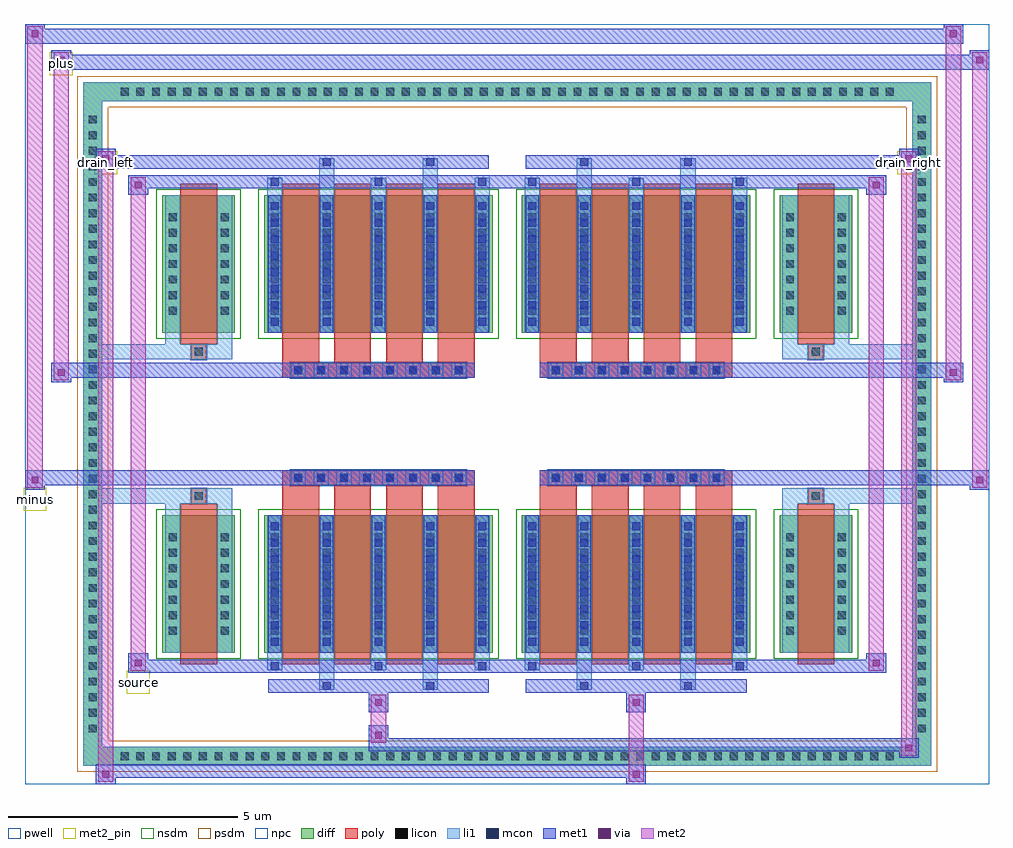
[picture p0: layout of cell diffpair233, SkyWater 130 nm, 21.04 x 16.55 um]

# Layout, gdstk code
import gdstk
lib = gdstk.Library(unit=1e-6, precision=5e-09)
def R(c, l, rs):  # rectangles x0, y0, x1, y1
    for r in rs: c.add(gdstk.rectangle(r[:2], r[2:], *l))
def A(c, l, x, y, w, h, nx, ny, dx, dy):  # array of equal rectangles
    R(c, l, [(x+i*dx, y+j*dy, x+i*dx+w, y+j*dy+h) for i in range(nx) for j in range(ny)])
def P(c, l, *ps):  # polygons
    for p in ps: c.add(gdstk.Polygon(p, *l))
pwell = (64, 44)
diff = (65, 20)
poly = (66, 20)
licon = (66, 44)
li1 = (67, 20)
mcon = (67, 44)
met1 = (68, 20)
via = (68, 44)
met2_pin = (69, 16)
met2 = (69, 20)
nsdm = (93, 44)
psdm = (94, 20)
npc = (95, 20)

diffpair233 = lib.new_cell('diffpair233')
R(diffpair233, pwell, [(-10.5,-7.84,10.5,8.71), (-7.82,-6.03,-0.01,-0.805), (0.01,-6.03,7.82,-0.805), (-7.82,0.805,-0.01,6.03), (0.01,0.805,7.82,6.03)])
A(diffpair233, diff, -8.535, -7.44, 0.41, 0.41, 50, 2, 0.34, 14.47)
A(diffpair233, diff, -9.23, -6.835, 0.41, 0.41, 1, 40, 0, 0.34)
A(diffpair233, diff, 8.82, -6.835, 0.41, 0.41, 1, 40, 0, 0.34)
R(diffpair233, diff, [(-8.535,-7.44,8.535,-7.03), (-9.23,-6.835,-8.82,6.835), (8.82,-6.835,9.23,6.835), (-7.51,-4.985,-5.93,-1.985), (-5.29,-4.985,-0.32,-1.985), (0.32,-4.985,5.29,-1.985), (5.93,-4.985,7.51,-1.985), (-7.51,1.985,-5.93,4.985), (-5.29,1.985,-0.32,4.985), (0.32,1.985,5.29,4.985), (5.93,1.985,7.51,4.985), (-8.535,7.03,8.535,7.44)])
P(diffpair233, diff, [(9.23,7.44),(-9.23,7.44),(-9.23,-7.03),(-8.82,-7.03),(-8.82,7.03),(8.82,7.03),(8.82,-7.03),(-8.82,-7.03),(-9.23,-7.03),(-9.23,-7.44),(9.23,-7.44)])
A(diffpair233, poly, -4.9, -5.235, 0.8, 3.5, 4, 2, 1.13, 6.97)
A(diffpair233, poly, 0.71, -5.235, 0.8, 3.5, 4, 2, 1.13, 6.97)
A(diffpair233, poly, -4.9, -1.735, 0.8, 0.4, 4, 2, 1.13, 3.07)
A(diffpair233, poly, 0.71, -1.735, 0.8, 0.4, 4, 2, 1.13, 3.07)
A(diffpair233, poly, -4.72, -1.335, 0.33, 0.33, 8, 2, 0.5, 2.34)
A(diffpair233, poly, 0.89, -1.335, 0.33, 0.33, 8, 2, 0.5, 2.34)
R(diffpair233, poly, [(-7.12,-5.235,-6.32,-1.735), (6.32,-5.235,7.12,-1.735), (-6.885,-1.735,-6.555,-1.405), (-6.885,-1.735,-6.555,-1.405), (6.555,-1.735,6.885,-1.405), (6.555,-1.735,6.885,-1.405), (-4.9,-1.335,-0.71,-1.005), (0.71,-1.335,4.9,-1.005), (-4.9,1.005,-0.71,1.335), (0.71,1.005,4.9,1.335), (-6.885,1.405,-6.555,1.735), (-6.885,1.405,-6.555,1.735), (6.555,1.405,6.885,1.735), (6.555,1.405,6.885,1.735), (-7.12,1.735,-6.32,5.235), (6.32,1.735,7.12,5.235)])
A(diffpair233, licon, -8.415, -7.32, 0.17, 0.17, 50, 2, 0.34, 14.47)
A(diffpair233, licon, -9.11, -6.715, 0.17, 0.17, 1, 40, 0, 0.34)
A(diffpair233, licon, 8.94, -6.715, 0.17, 0.17, 1, 40, 0, 0.34)
A(diffpair233, licon, -7.37, -4.59, 0.17, 0.17, 1, 7, 0, 0.34)
A(diffpair233, licon, -6.24, -4.59, 0.17, 0.17, 1, 7, 0, 0.34)
A(diffpair233, licon, -5.15, -4.59, 0.17, 0.17, 5, 7, 1.13, 0.34)
A(diffpair233, licon, 0.46, -4.59, 0.17, 0.17, 5, 7, 1.13, 0.34)
A(diffpair233, licon, 6.07, -4.59, 0.17, 0.17, 1, 7, 0, 0.34)
A(diffpair233, licon, 7.2, -4.59, 0.17, 0.17, 1, 7, 0, 0.34)
A(diffpair233, licon, -4.64, -1.255, 0.17, 0.17, 8, 2, 0.5, 2.34)
A(diffpair233, licon, 0.97, -1.255, 0.17, 0.17, 8, 2, 0.5, 2.34)
A(diffpair233, licon, -7.37, 2.38, 0.17, 0.17, 1, 7, 0, 0.34)
A(diffpair233, licon, -6.24, 2.38, 0.17, 0.17, 1, 7, 0, 0.34)
A(diffpair233, licon, -5.15, 2.38, 0.17, 0.17, 5, 7, 1.13, 0.34)
A(diffpair233, licon, 0.46, 2.38, 0.17, 0.17, 5, 7, 1.13, 0.34)
A(diffpair233, licon, 6.07, 2.38, 0.17, 0.17, 1, 7, 0, 0.34)
A(diffpair233, licon, 7.2, 2.38, 0.17, 0.17, 1, 7, 0, 0.34)
R(diffpair233, licon, [(-6.805,-1.655,-6.635,-1.485), (6.635,-1.655,6.805,-1.485), (-6.805,1.485,-6.635,1.655), (6.635,1.485,6.805,1.655)])
A(diffpair233, li1, -8.495, -7.4, 0.33, 0.33, 50, 2, 0.34, 14.47)
A(diffpair233, li1, -9.19, -6.795, 0.33, 0.33, 1, 40, 0, 0.34)
A(diffpair233, li1, 8.86, -6.795, 0.33, 0.33, 1, 40, 0, 0.34)
A(diffpair233, li1, -5.23, -5.36, 0.33, 0.375, 3, 2, 2.26, 10.345)
A(diffpair233, li1, -5.15, -5.36, 0.17, 0.17, 3, 2, 2.26, 10.55)
A(diffpair233, li1, 0.38, -5.36, 0.33, 0.375, 3, 2, 2.26, 10.345)
A(diffpair233, li1, 0.46, -5.36, 0.17, 0.17, 3, 2, 2.26, 10.55)
A(diffpair233, li1, -5.23, -4.985, 0.33, 3, 5, 2, 1.13, 6.97)
A(diffpair233, li1, 0.38, -4.985, 0.33, 3, 5, 2, 1.13, 6.97)
A(diffpair233, li1, -5.15, -4.83, 0.17, 0.17, 5, 8, 1.13, 0.36)
A(diffpair233, li1, -5.15, -4.83, 0.17, 2.69, 5, 2, 1.13, 6.97)
A(diffpair233, li1, 0.46, -4.83, 0.17, 0.17, 5, 8, 1.13, 0.36)
A(diffpair233, li1, 0.46, -4.83, 0.17, 2.69, 5, 2, 1.13, 6.97)
A(diffpair233, li1, -7.45, -4.67, 0.33, 0.33, 1, 7, 0, 0.34)
A(diffpair233, li1, -6.32, -4.67, 0.33, 0.33, 1, 7, 0, 0.34)
A(diffpair233, li1, -5.23, -4.67, 0.33, 0.33, 5, 7, 1.13, 0.34)
A(diffpair233, li1, 0.38, -4.67, 0.33, 0.33, 5, 7, 1.13, 0.34)
A(diffpair233, li1, 5.99, -4.67, 0.33, 0.33, 1, 7, 0, 0.34)
A(diffpair233, li1, 7.12, -4.67, 0.33, 0.33, 1, 7, 0, 0.34)
A(diffpair233, li1, -4.72, -1.335, 0.33, 0.33, 8, 2, 0.5, 2.34)
A(diffpair233, li1, 0.89, -1.335, 0.33, 0.33, 8, 2, 0.5, 2.34)
A(diffpair233, li1, -5.15, 2.14, 0.17, 0.17, 5, 8, 1.13, 0.36)
A(diffpair233, li1, 0.46, 2.14, 0.17, 0.17, 5, 8, 1.13, 0.36)
A(diffpair233, li1, -7.45, 2.3, 0.33, 0.33, 1, 7, 0, 0.34)
A(diffpair233, li1, -6.32, 2.3, 0.33, 0.33, 1, 7, 0, 0.34)
A(diffpair233, li1, -5.23, 2.3, 0.33, 0.33, 5, 7, 1.13, 0.34)
A(diffpair233, li1, 0.38, 2.3, 0.33, 0.33, 5, 7, 1.13, 0.34)
A(diffpair233, li1, 5.99, 2.3, 0.33, 0.33, 1, 7, 0, 0.34)
A(diffpair233, li1, 7.12, 2.3, 0.33, 0.33, 1, 7, 0, 0.34)
R(diffpair233, li1, [(-9.23,-7.44,-8.82,-7.03), (-9.23,-7.44,-8.82,-7.03), (-8.82,-7.44,8.82,-7.03), (8.82,-7.44,9.23,-7.03), (8.82,-7.44,9.23,-7.03), (-9.23,-7.03,-8.82,7.03), (8.82,-7.03,9.23,7.03), (-4.1,-5.79,-3.77,-4.985), (-4.02,-5.79,-3.85,-5.62), (-1.84,-5.79,-1.51,-4.985), (-1.76,-5.79,-1.59,-5.62), (1.51,-5.79,1.84,-4.985), (1.59,-5.79,1.76,-5.62), (3.77,-5.79,4.1,-4.985), (3.85,-5.79,4.02,-5.62), (-7.45,-4.985,-7.12,-1.985), (-6.32,-4.985,-5.99,-1.985), (5.99,-4.985,6.32,-1.985), (7.12,-4.985,7.45,-1.985), (-7.45,-1.985,-7.12,-1.405), (-6.32,-1.985,-5.99,-1.405), (5.99,-1.985,6.32,-1.405), (7.12,-1.985,7.45,-1.405), (-9.23,-1.735,-6.885,-1.405), (-7.45,-1.735,-6.885,-1.405), (-6.885,-1.735,-6.555,-1.405), (-6.555,-1.735,-5.99,-1.405), (5.99,-1.735,6.555,-1.405), (6.555,-1.735,6.885,-1.405), (6.555,-1.735,9.23,-1.405), (6.885,-1.735,7.45,-1.405), (-9.23,1.405,-6.885,1.735), (-7.45,1.405,-6.885,1.735), (-7.45,1.405,-7.12,1.985), (-6.885,1.405,-6.555,1.735), (-6.555,1.405,-5.99,1.735), (-6.32,1.405,-5.99,1.985), (5.99,1.405,6.555,1.735), (5.99,1.405,6.32,1.985), (6.555,1.405,6.885,1.735), (6.555,1.405,9.23,1.735), (6.885,1.405,7.45,1.735), (7.12,1.405,7.45,1.985), (-7.45,1.985,-7.12,4.985), (-6.32,1.985,-5.99,4.985), (5.99,1.985,6.32,4.985), (7.12,1.985,7.45,4.985), (-4.1,4.985,-3.77,5.79), (-1.84,4.985,-1.51,5.79), (1.51,4.985,1.84,5.79), (3.77,4.985,4.1,5.79), (-4.02,5.62,-3.85,5.79), (-1.76,5.62,-1.59,5.79), (1.59,5.62,1.76,5.79), (3.85,5.62,4.02,5.79), (-9.23,7.03,-8.82,7.44), (-9.23,7.03,-8.82,7.44), (-8.82,7.03,8.82,7.44), (8.82,7.03,9.23,7.44), (8.82,7.03,9.23,7.44)])
A(diffpair233, mcon, -5.15, -5.36, 0.17, 0.17, 3, 2, 2.26, 10.55)
A(diffpair233, mcon, 0.46, -5.36, 0.17, 0.17, 3, 2, 2.26, 10.55)
A(diffpair233, mcon, -5.15, -4.83, 0.17, 0.17, 5, 8, 1.13, 0.36)
A(diffpair233, mcon, 0.46, -4.83, 0.17, 0.17, 5, 8, 1.13, 0.36)
A(diffpair233, mcon, -4.64, -1.255, 0.17, 0.17, 8, 2, 0.5, 2.34)
A(diffpair233, mcon, 0.97, -1.255, 0.17, 0.17, 8, 2, 0.5, 2.34)
A(diffpair233, mcon, -5.15, 2.14, 0.17, 0.17, 5, 8, 1.13, 0.36)
A(diffpair233, mcon, 0.46, 2.14, 0.17, 0.17, 5, 8, 1.13, 0.36)
R(diffpair233, mcon, [(-4.02,-5.79,-3.85,-5.62), (-1.76,-5.79,-1.59,-5.62), (1.59,-5.79,1.76,-5.62), (3.85,-5.79,4.02,-5.62), (-4.02,5.62,-3.85,5.79), (-1.76,5.62,-1.59,5.79), (1.59,5.62,1.76,5.79), (3.85,5.62,4.02,5.79)])
A(diffpair233, met1, -5.21, -5.42, 0.29, 0.29, 3, 2, 2.26, 10.55)
A(diffpair233, met1, 0.4, -5.42, 0.29, 0.29, 3, 2, 2.26, 10.55)
A(diffpair233, met1, -5.21, -4.985, 0.29, 3, 5, 2, 1.13, 6.97)
A(diffpair233, met1, 0.4, -4.985, 0.29, 3, 5, 2, 1.13, 6.97)
A(diffpair233, met1, -5.21, -4.89, 0.29, 0.29, 5, 8, 1.13, 0.36)
A(diffpair233, met1, 0.4, -4.89, 0.29, 0.29, 5, 8, 1.13, 0.36)
A(diffpair233, met1, -4.7, -1.315, 0.29, 0.29, 8, 2, 0.5, 2.34)
A(diffpair233, met1, 0.91, -1.315, 0.29, 0.29, 8, 2, 0.5, 2.34)
A(diffpair233, met1, -5.21, 2.08, 0.29, 0.29, 5, 8, 1.13, 0.36)
A(diffpair233, met1, 0.4, 2.08, 0.29, 0.29, 5, 8, 1.13, 0.36)
R(diffpair233, met1, [(-8.96,-7.84,-8.53,-7.41), (2.59,-7.84,3.02,-7.41), (-8.96,-7.7,3.02,-7.41), (8.53,-7.27,8.96,-6.84), (-3.02,-7.13,8.96,-6.84), (-3.02,-6.99,-2.59,-6.56), (-3.02,-6.28,-2.59,-5.85), (2.59,-6.28,3.02,-5.85), (-5.21,-5.85,-0.4,-5.56), (-4.08,-5.85,-3.79,-5.56), (-1.82,-5.85,-1.53,-5.56), (0.4,-5.85,5.21,-5.56), (1.53,-5.85,1.82,-5.56), (3.79,-5.85,4.08,-5.56), (-8.25,-5.42,-7.82,-4.99), (-8.25,-5.42,-5.21,-5.13), (-5.21,-5.42,-0.4,-5.13), (-0.4,-5.42,0.4,-5.13), (0.4,-5.42,5.21,-5.13), (5.21,-5.42,8.25,-5.13), (7.82,-5.42,8.25,-4.99), (-10.5,-1.435,-10.07,-1.005), (10.07,-1.435,10.5,-1.005), (-10.5,-1.335,-0.71,-1.005), (-4.9,-1.335,-0.71,-1.005), (0.71,-1.335,4.9,-1.005), (0.71,-1.335,10.5,-1.005), (-9.93,0.905,-9.5,1.335), (9.5,0.905,9.93,1.335), (-9.93,1.005,-4.9,1.335), (-4.9,1.005,-0.71,1.335), (0.71,1.005,4.9,1.335), (4.9,1.005,9.93,1.335), (-8.25,4.99,-7.82,5.42), (7.82,4.99,8.25,5.42), (-8.25,5.13,-5.21,5.42), (-5.21,5.13,-0.4,5.42), (-0.4,5.13,0.4,5.42), (0.4,5.13,5.21,5.42), (5.21,5.13,8.25,5.42), (-8.96,5.56,-8.53,5.99), (-8.96,5.56,-5.21,5.85), (-5.21,5.56,-0.4,5.85), (-4.08,5.56,-3.79,5.85), (-1.82,5.56,-1.53,5.85), (0.4,5.56,5.21,5.85), (1.53,5.56,1.82,5.85), (3.79,5.56,4.08,5.85), (5.21,5.56,8.96,5.85), (8.53,5.56,8.96,5.99), (-9.93,7.71,-9.5,8.14), (-9.93,7.71,-7.82,8.04), (-7.82,7.71,7.82,8.04), (7.82,7.71,10.5,8.04), (10.07,7.71,10.5,8.14), (-10.5,8.28,-10.07,8.71), (-10.5,8.28,-7.82,8.61), (-7.82,8.28,7.82,8.61), (7.82,8.28,9.93,8.61), (9.5,8.28,9.93,8.71)])
R(diffpair233, via, [(-8.82,-7.7,-8.67,-7.55), (2.73,-7.7,2.88,-7.55), (8.67,-7.13,8.82,-6.98), (-2.88,-6.85,-2.73,-6.7), (-2.88,-6.14,-2.73,-5.99), (2.73,-6.14,2.88,-5.99), (-8.11,-5.28,-7.96,-5.13), (7.96,-5.28,8.11,-5.13), (-10.36,-1.295,-10.21,-1.145), (10.21,-1.295,10.36,-1.145), (-9.79,1.045,-9.64,1.195), (9.64,1.045,9.79,1.195), (-8.11,5.13,-7.96,5.28), (7.96,5.13,8.11,5.28), (-8.82,5.7,-8.67,5.85), (8.67,5.7,8.82,5.85), (-9.79,7.85,-9.64,8), (10.21,7.85,10.36,8), (-10.36,8.42,-10.21,8.57), (9.64,8.42,9.79,8.57)])
R(diffpair233, met2_pin, [(-8.285,-5.87,-7.785,-5.37), (-10.535,-1.885,-10.035,-1.385), (-8.995,5.44,-8.495,5.94), (8.495,5.44,8.995,5.94), (-9.965,7.59,-9.465,8.09)])
R(diffpair233, met2, [(-8.91,-7.79,-8.58,-7.46), (-8.91,-7.79,-8.58,5.94), (2.64,-7.79,2.97,-7.46), (2.64,-7.46,2.97,-6.23), (8.58,-7.22,8.91,-6.89), (8.58,-7.22,8.91,5.94), (-2.97,-6.94,-2.64,-6.61), (-2.97,-6.61,-2.64,-6.23), (-2.97,-6.23,-2.64,-5.9), (2.64,-6.23,2.97,-5.9), (-8.2,-5.37,-7.87,-5.04), (-8.2,-5.37,-7.87,5.37), (7.87,-5.37,8.2,-5.04), (7.87,-5.37,8.2,5.37), (-10.45,-1.385,-10.12,-1.055), (-10.45,-1.385,-10.12,8.66), (10.12,-1.385,10.45,-1.055), (10.12,-1.385,10.45,8.09), (-9.88,0.955,-9.55,1.285), (-9.88,0.955,-9.55,8.09), (9.55,0.955,9.88,1.285), (9.55,0.955,9.88,8.66), (-8.2,5.04,-7.87,5.37), (7.87,5.04,8.2,5.37), (-8.91,5.61,-8.58,5.94), (8.58,5.61,8.91,5.94), (-9.88,7.76,-9.55,8.09), (10.12,7.76,10.45,8.09), (-10.45,8.33,-10.12,8.66), (9.55,8.33,9.88,8.66)])
P(diffpair233, met2, [(10.45,-1.385),(10.45,-1.385),(10.45,-1.055),(10.45,-1.055)],
  [(10.45,7.76),(10.45,7.76),(10.45,8.09),(10.45,8.09)],
  [(-10.12,-1.385),(-10.12,-1.385),(-10.12,-1.055),(-10.12,-1.055)],
  [(-10.12,8.33),(-10.12,8.33),(-10.12,8.66),(-10.12,8.66)],
  [(9.88,0.955),(9.88,0.955),(9.88,1.285),(9.88,1.285)],
  [(9.88,8.33),(9.88,8.33),(9.88,8.66),(9.88,8.66)],
  [(-9.55,0.955),(-9.55,0.955),(-9.55,1.285),(-9.55,1.285)],
  [(-9.55,7.76),(-9.55,7.76),(-9.55,8.09),(-9.55,8.09)],
  [(-8.58,-7.79),(-8.58,-7.79),(-8.58,-7.46),(-8.58,-7.46)],
  [(-8.58,5.61),(-8.58,5.61),(-8.58,5.94),(-8.58,5.94)],
  [(8.91,-7.22),(8.91,-7.22),(8.91,-6.89),(8.91,-6.89)],
  [(8.91,5.61),(8.91,5.61),(8.91,5.94),(8.91,5.94)],
  [(-7.87,-5.37),(-7.87,-5.37),(-7.87,-5.04),(-7.87,-5.04)],
  [(-7.87,5.04),(-7.87,5.04),(-7.87,5.37),(-7.87,5.37)],
  [(8.2,-5.37),(8.2,-5.37),(8.2,-5.04),(8.2,-5.04)],
  [(8.2,5.04),(8.2,5.04),(8.2,5.37),(8.2,5.37)])
R(diffpair233, nsdm, [(-7.64,-5.115,-5.8,-1.855), (-5.42,-5.115,-0.19,-1.855), (0.19,-5.115,5.42,-1.855), (5.8,-5.115,7.64,-1.855), (-7.64,1.855,-5.8,5.115), (-5.42,1.855,-0.19,5.115), (0.19,1.855,5.42,5.115), (5.8,1.855,7.64,5.115)])
P(diffpair233, psdm, [(9.36,7.57),(-9.36,7.57),(-9.36,-6.9),(-8.69,-6.9),(-8.69,6.9),(8.69,6.9),(8.69,-6.9),(-8.69,-6.9),(-9.36,-6.9),(-9.36,-7.57),(9.36,-7.57)])
A(diffpair233, npc, -4.74, -1.355, 0.37, 0.37, 8, 2, 0.5, 2.34)
A(diffpair233, npc, 0.87, -1.355, 0.37, 0.37, 8, 2, 0.5, 2.34)
R(diffpair233, npc, [(-6.905,-1.755,-6.535,-1.385), (6.535,-1.755,6.905,-1.385), (-4.74,-1.355,-3.87,-0.985), (-4.74,-1.355,-3.87,-0.985), (-4.24,-1.355,-3.37,-0.985), (-4.24,-1.355,-3.37,-0.985), (-3.74,-1.355,-2.87,-0.985), (-3.74,-1.355,-2.87,-0.985), (-3.24,-1.355,-2.37,-0.985), (-3.24,-1.355,-2.37,-0.985), (-2.74,-1.355,-1.87,-0.985), (-2.74,-1.355,-1.87,-0.985), (-2.24,-1.355,-1.37,-0.985), (-2.24,-1.355,-1.37,-0.985), (-1.74,-1.355,-0.87,-0.985), (-1.74,-1.355,-0.87,-0.985), (0.87,-1.355,1.74,-0.985), (0.87,-1.355,1.74,-0.985), (1.37,-1.355,2.24,-0.985), (1.37,-1.355,2.24,-0.985), (1.87,-1.355,2.74,-0.985), (1.87,-1.355,2.74,-0.985), (2.37,-1.355,3.24,-0.985), (2.37,-1.355,3.24,-0.985), (2.87,-1.355,3.74,-0.985), (2.87,-1.355,3.74,-0.985), (3.37,-1.355,4.24,-0.985), (3.37,-1.355,4.24,-0.985), (3.87,-1.355,4.74,-0.985), (3.87,-1.355,4.74,-0.985), (-4.74,0.985,-3.87,1.355), (-4.74,0.985,-3.87,1.355), (-4.24,0.985,-3.37,1.355), (-4.24,0.985,-3.37,1.355), (-3.74,0.985,-2.87,1.355), (-3.74,0.985,-2.87,1.355), (-3.24,0.985,-2.37,1.355), (-3.24,0.985,-2.37,1.355), (-2.74,0.985,-1.87,1.355), (-2.74,0.985,-1.87,1.355), (-2.24,0.985,-1.37,1.355), (-2.24,0.985,-1.37,1.355), (-1.74,0.985,-0.87,1.355), (-1.74,0.985,-0.87,1.355), (0.87,0.985,1.74,1.355), (0.87,0.985,1.74,1.355), (1.37,0.985,2.24,1.355), (1.37,0.985,2.24,1.355), (1.87,0.985,2.74,1.355), (1.87,0.985,2.74,1.355), (2.37,0.985,3.24,1.355), (2.37,0.985,3.24,1.355), (2.87,0.985,3.74,1.355), (2.87,0.985,3.74,1.355), (3.37,0.985,4.24,1.355), (3.37,0.985,4.24,1.355), (3.87,0.985,4.74,1.355), (3.87,0.985,4.74,1.355), (-6.905,1.385,-6.535,1.755), (6.535,1.385,6.905,1.755)])
diffpair233.add(gdstk.Label('minus', (-10.285,-1.635), layer=69, texttype=5))
diffpair233.add(gdstk.Label('drain_right', (8.745,5.69), layer=69, texttype=5))
diffpair233.add(gdstk.Label('drain_left', (-8.745,5.69), layer=69, texttype=5))
diffpair233.add(gdstk.Label('source', (-8.035,-5.62), layer=69, texttype=5))
diffpair233.add(gdstk.Label('plus', (-9.715,7.84), layer=69, texttype=5))

lib.write_gds('diffpair233.gds')
